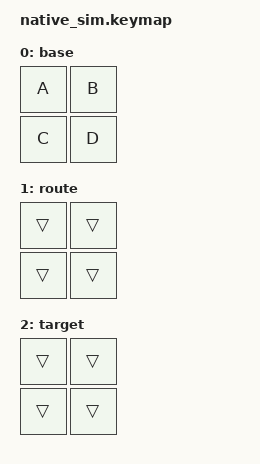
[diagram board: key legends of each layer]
/*
 * Copyright (c) 2026 amgskobo
 * SPDX-License-Identifier: MIT
 */

#include <behaviors.dtsi>
#include <physical_layouts.dtsi>
#include <dt-bindings/zmk/matrix_transform.h>
#include <dt-bindings/input/suppress.h>
#include <dt-bindings/zmk/keys.h>
#include <dt-bindings/zmk/kscan_mock.h>
#include <zephyr/dt-bindings/input/input-event-codes.h>

/ {
    chosen { zmk,physical-layout = &test_layout; };
    test_transform: test_transform {
        compatible = "zmk,matrix-transform";
        rows = <2>; columns = <2>;
        map = <RC(0,0) RC(0,1) RC(1,0) RC(1,1)>;
    };
    test_layout: test_layout {
        compatible = "zmk,physical-layout";
        display-name = "Touch test";
        transform = <&test_transform>;
        keys = <&key_physical_attrs 100 100 0 0 0 0 0>,
               <&key_physical_attrs 100 100 100 0 0 0 0>,
               <&key_physical_attrs 100 100 0 100 0 0 0>,
               <&key_physical_attrs 100 100 100 100 0 0 0>;
    };
    keymap {
        compatible = "zmk,keymap";

        base {
            bindings = <&kp A &kp B &kp C &kp D>;
        };

        /* Selects the pad listener's layer route. */
        route {
            bindings = <&trans &trans &trans &trans>;
        };

        /* What an edge contact holds; selects the final mask. */
        target {
            bindings = <&trans &trans &trans &trans>;
        };
    };

    /* A strip decided on X, whose coordinate carries no sync. */
    right_strip: right_strip {
        compatible = "zmk,input-processor-temp-layer-touch";
        #input-processor-cells = <0>;
        layer = <2>;
        width = <50>;
        edge = "right";
    };

    /* A strip decided on Y, the coordinate that carries a report's sync. */
    bottom_strip: bottom_strip {
        compatible = "zmk,input-processor-temp-layer-touch";
        #input-processor-cells = <0>;
        layer = <2>;
        width = <50>;
        edge = "bottom";
    };

    final_filter: final_filter {
        compatible = "zmk,input-processor-suppress";
        #input-processor-cells = <1>;
    };

    /* Sends nothing by itself; the self-tests report through it. */
    pad: pad {
        compatible = "zmk,input-mock";
        event-period = <100>;
        events = <>;
    };

    pad_listener {
        compatible = "zmk,input-listener";
        device = <&pad>;
        input-processors = <&right_strip>, <&final_filter SUPPRESS_TOUCH>;

        edge_scroll {
            layers = <2>;
            input-processors = <&right_strip>, <&final_filter (SUPPRESS_TOUCH | SUPPRESS_BUTTONS)>;
        };

        layer_route {
            layers = <1>;
            input-processors = <&right_strip>, <&final_filter SUPPRESS_TOUCH>;
        };
    };

    /* A second listener, so the processors have at least two streams. */
    idle_source: idle_source {
        compatible = "zmk,input-mock";
        event-period = <100>;
        events = <>;
    };

    idle_listener {
        compatible = "zmk,input-listener";
        device = <&idle_source>;
        input-processors = <&right_strip>, <&bottom_strip>, <&final_filter SUPPRESS_TOUCH>;
        edge_scroll {
            layers = <2>;
            input-processors = <&right_strip>, <&bottom_strip>, <&final_filter (SUPPRESS_TOUCH | SUPPRESS_BUTTONS)>;
        };
    };
};

/* An empty mock exits at boot; one late press keeps the process up for the tests. */
&kscan {
    events = <ZMK_MOCK_PRESS(0,0,30000)>;
};
